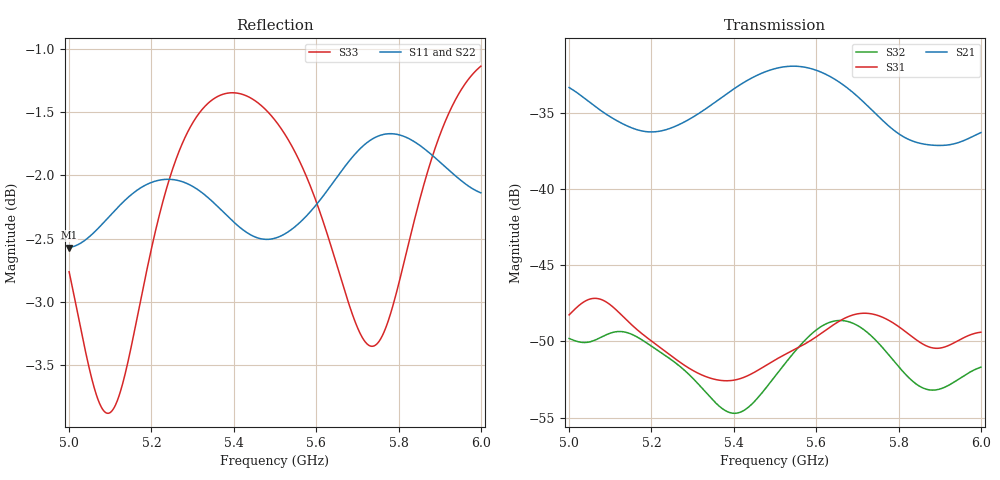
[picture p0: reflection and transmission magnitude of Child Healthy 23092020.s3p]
! TOUCHSTONE file generated by CST MICROWAVE STUDIO
! Date and time: Sat Sep 26 14:47:19 2020
! Project name: Child Lung.cst
! Header version: 2018
! Port assignment regex: !\s*Touchstone port\s*([0-9]+)\s*=\s*(CST MWS port|CST DS port)\s*([0-9]+|Zmin|Zmax)\s*\(\"(.*)\"\)(\s*mode\s*([0-9]+))?.*
! Touchstone port assignment:
! Touchstone port 1 = CST MWS port 1 ("")
! Touchstone port 2 = CST MWS port 2 ("")
! Touchstone port 3 = CST MWS port 3 ("")
# GHz S RI R 50
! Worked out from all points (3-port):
!   1001 points, 5 GHz to 6 GHz, reference 50 ohm
!   strongest paths, dB at 5 GHz, 5.25 GHz, 5.5 GHz, 5.75 GHz, 6 GHz:
!     S21: -33.3, -36.0, -32.1, -35.2, -36.3
!     S31: -48.3, -51.0, -51.2, -48.3, -49.4
!     S32: -49.8, -51.2, -52.3, -50.1, -51.7
!   lowest |S11| = -2.6 dB at 5 GHz (marker M1), VSWR 6.81, Z = 338 - j28.6 ohm
!   |S11| at or under -10 dB: nowhere
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5  0.7436 -0.0189  0.00912 0.0195  0.000117 -0.00388
   0.00909 0.0196  0.7418 -0.0271  -0.00136 -0.00293
   9.26e-05 -0.00387  -0.00135 -0.00294  0.7172 -0.1229
5.051  0.7516 0.00304  0.017 0.00903  -0.00323 -0.00294
       0.017 0.00901  0.7458 -0.00223  -0.00283 -0.00139
       -0.00321 -0.00295  -0.00283 -0.00138  0.6598 -0.0755
5.099  0.7655 0.0146  0.0173 -0.000842  -0.00415 0.000411
       0.0173 -0.000838  0.7579 0.0128  -0.00327 0.00079
       -0.00416 0.000414  -0.00327 0.000788  0.6399 0.00186
5.205  0.7898 0.0099  0.00727 -0.0136  0.000186 0.00313
       0.00726 -0.0136  0.7847 0.0166  0.000959 0.00286
       0.000181 0.00313  0.00096 0.00286  0.7411 0.1112
5.393  0.7631 -0.00549  -0.0209 -0.00239  0.00185 -0.00145
       -0.0209 -0.0024  0.7733 -0.00166  0.000892 -0.00161
       0.00185 -0.00145  0.000892 -0.00161  0.8561 0.0258
5.5  0.7497 0.0282  -0.00777 0.0236  -0.000846 -0.00261
     -0.00777 0.0236  0.7571 0.0182  -0.00129 -0.00206
     -0.000846 -0.00262  -0.00129 -0.00206  0.8347 -0.0334
5.632  0.783 0.0625  0.0234 0.00267  -0.00314 0.00157
       0.0234 0.00267  0.773 0.0567  -0.00204 0.00303
       -0.00314 0.00157  -0.00204 0.00303  0.7463 -0.0569
5.743  0.821 0.0454  0.00589 -0.0168  0.00213 0.00323
       0.00588 -0.0168  0.8139 0.0523  0.00305 0.00101
       0.00213 0.00323  0.00305 0.00101  0.6792 0.0391
5.869  0.8123 0.00942  -0.0104 -0.00934  0.0023 -0.00202
       -0.0105 -0.00933  0.8176 0.0177  0.000705 -0.00208
       0.00229 -0.00202  0.000706 -0.00208  0.7844 0.1316
6  0.7816 0.0196  -0.0132 0.00782  -0.00236 -0.00246
   -0.0132 0.00784  0.7923 0.0152  -0.00248 -0.000789
   -0.00235 -0.00245  -0.00248 -0.000792  0.8743 0.0749
